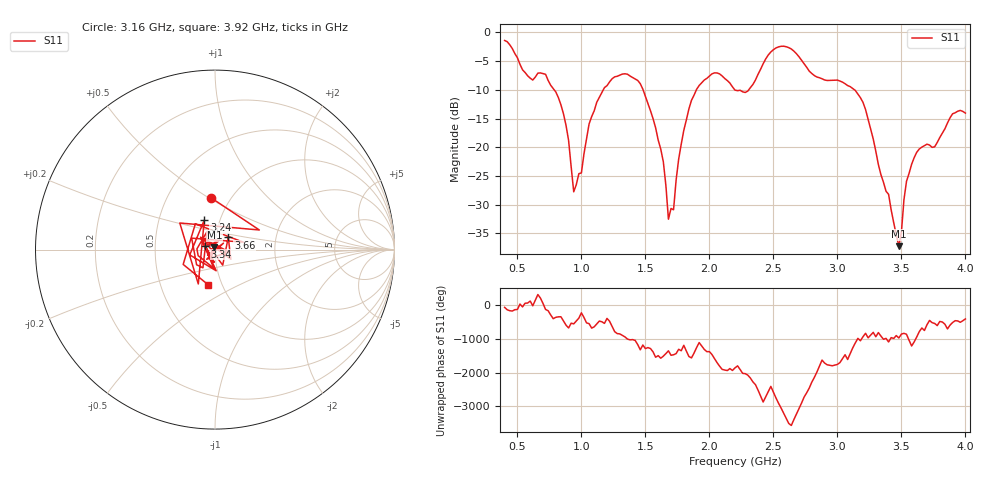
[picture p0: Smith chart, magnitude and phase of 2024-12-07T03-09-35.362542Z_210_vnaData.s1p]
!Created with skrf (http://scikit-rf.org).
# Hz S RI R 50.0
!freq ReS11 ImS11
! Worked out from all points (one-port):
!   181 points, 400 MHz to 4 GHz, reference 50 ohm
!   lowest |S11| = -37.2 dB at 3.48 GHz (marker M1), VSWR 1.03, Z = 49.6 + j1.31 ohm
!   |S11| at or under -10 dB: 787.7 MHz to 1.17 GHz (382.7 MHz wide, 39.1 % of centre); 1.482 GHz to 1.898 GHz (416.3 MHz wide, 24.6 % of centre); 3.134 GHz to end of sweep (the widest 3 of 4)
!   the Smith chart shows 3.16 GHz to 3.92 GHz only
!   S11 on the Smith chart (normalised r, x): 3.16 GHz: 0.81, +0.51; 3.24 GHz: 0.84, +0.29; 3.34 GHz: 0.90, +0.03; 3.66 GHz: 1.15, +0.16; 3.92 GHz: 0.86, -0.35
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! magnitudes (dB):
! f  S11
! 400 MHz  -1.4
! 600 MHz  -8.0
! 720 MHz  -7.3
! 860 MHz  -14.2
! 940 MHz  -27.8
! 1.12 GHz  -12.2
! 1.3 GHz  -7.5
! 1.44 GHz  -8.4
! 1.54 GHz  -13.7
! 1.64 GHz  -22.5
! 1.68 GHz  -32.5
! 1.72 GHz  -30.9
! 1.76 GHz  -22.1
! 1.92 GHz  -9.2
! 2.06 GHz  -7.1
! 2.2 GHz  -10.0
! 2.3 GHz  -10.2
! 2.52 GHz  -2.7
! 2.66 GHz  -3.2
! 3.1 GHz  -9.4
! 3.16 GHz  -10.7
! 3.24 GHz  -15.2
! 3.34 GHz  -24.8
! 3.48 GHz  -37.2
! 3.56 GHz  -24.5
! 3.66 GHz  -20.0
! 3.92 GHz  -14.0
! 4 GHz  -14.1
